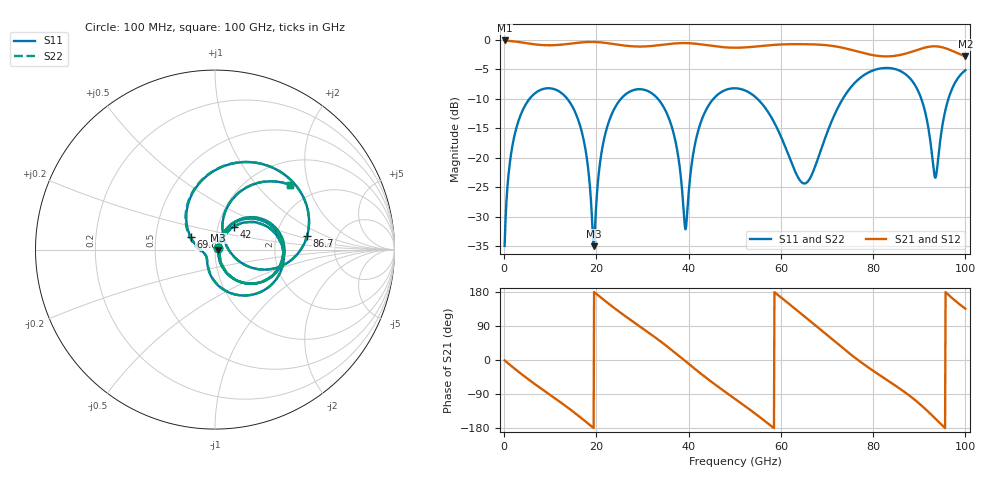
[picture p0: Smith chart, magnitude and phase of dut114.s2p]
! Touchstone file exported from HFSS 2026.1.0
!  File:  C:/ffzhzh/LocalFiles/Ansys_Project_Files/temp_train_TSV_RDL_114_1783635876_29156.aedt
!  Generated:  06:31:44 AM Jul 10, 2026
!  Design:  TSV_RDL
!  Project:  temp_train_TSV_RDL_114_1783635876_29156
! Variables:
!  h_bsmrdl = 2.78um
!  h_ox = 20um
!  h_rdl = 5um
!  h_sub = 67.62um
!  h_tmrdl = 2.64um
!  h_tsv = 67.62um
!  h_via = 3um
!  l_bsmrdl = 234.6um
!  l_sub = 3117.39um
!  l_tmrdl = 469.4um
!  m_sub = 200um
!  pitch = 44.06um
!  r_tsv = 10.53um
!  s_tmrdl = 10um
!  w_bsmrdl = 15.69um
!  w_sub = 500um
!  w_tmrdl = 29.64um
!  x_tsv_center1 = 484.22um
!  x_tsv_center2 = 734.51um
!  x_tsv_center3 = 1233.55um
!  x_tsv_center4 = 1483.84um
!  x_tsv_center5 = 1982.88um
!  x_tsv_center6 = 2233.17um
# GHz S MA R 50.000000
! Terminal data exported
! Port[1] = TM_RDL1_1_T1
! Port[2] = TM_RDL5_1_T1
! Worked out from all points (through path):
!   1000 points, 100 MHz to 100 GHz, reference 50 ohm
!   highest |S21| = -0.14 dB at 100 MHz (marker M1); lowest = -2.9 dB at 100 GHz (marker M2)
!   group delay of S21, straight-line fit = 26 ps
!   lowest |S11| = -35.0 dB at 19.4 GHz (marker M3), VSWR 1.04, Z = 51.8 - j0.195 ohm
!   |S11| at or under -10 dB: 13.65 GHz to 25.37 GHz (11.72 GHz wide, 60.1 % of centre); 33.29 GHz to 45.42 GHz (12.13 GHz wide, 30.8 % of centre); 54.85 GHz to 73.45 GHz (18.6 GHz wide, 29 % of centre) (the widest 3 of 5)
!   |S22| runs from -35.3 to -4.8 dB; largest |S21 - S12| = 2.1e-14
!   S11 on the Smith chart (normalised r, x): 100 MHz: 1.03, +0.02; 42 GHz: 1.19, +0.31; 69.8 GHz: 0.75, +0.11; 86.7 GHz: 3.01, +0.64; 100 GHz: 1.48, +1.53
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0.1  0.0178 27.1  0.9843 -1.1  0.9843 -1.1  0.0178 27.1
! Gamma 0 0 0 0
! Port Impedance 50 0 50 0
1.9  0.1328 61.2  0.969 -19.2  0.969 -19.2  0.1328 61.2
5.5  0.3146 32.6  0.925 -53.3  0.925 -53.3  0.3146 32.6
11.4  0.3731 -16.2  0.9003 -104.4  0.9003 -104.4  0.3731 -16.2
16.8  0.1671 -60.9  0.9481 -153.9  0.9481 -153.9  0.1671 -61.0
19.4  0.01772 -6.1  0.9559 -179.6  0.9559 -179.6  0.01717 -6.4
21.2  0.1158 62.0  0.946 162.6  0.946 162.6  0.1156 62.3
23.8  0.2555 42.7  0.917 137.8  0.917 137.8  0.2553 42.9
33.4  0.3127 -35.5  0.8954 53.7  0.8954 53.7  0.3126 -35.2
37  0.1456 -63.1  0.9286 19.7  0.9286 19.7  0.1458 -62.2
39.3  0.02462 -7.4  0.9351 -3.1  0.9351 -3.1  0.02682 -6.8
42  0.1651 50.9  0.9191 -29.8  0.9191 -29.8  0.1656 50.1
50.1  0.387 -14.1  0.8542 -103.1  0.8542 -103.1  0.3871 -14.2
58.8  0.1901 -87.7  0.9045 177.1  0.9045 177.1  0.1904 -87.0
66.7  0.0716 -171.7  0.9124 99.2  0.9124 99.2  0.07187 -167.5
69.8  0.1541 152.3  0.898 68.0  0.898 68.0  0.1537 154.4
75.6  0.4129 96.3  0.8125 10.4  0.8125 10.4  0.4126 97.0
83.4  0.5745 33.6  0.7215 -56.1  0.7215 -56.1  0.5743 33.8
86.7  0.5196 8.6  0.7549 -83.5  0.7549 -83.5  0.5193 8.7
93.5  0.06744 26.1  0.8778 -154.9  0.8778 -154.9  0.06631 26.5
96.2  0.304 70.4  0.8319 173.4  0.8319 173.4  0.304 70.6
100  0.5507 41.0  0.7202 135.3  0.7202 135.3  0.5509 41.1
